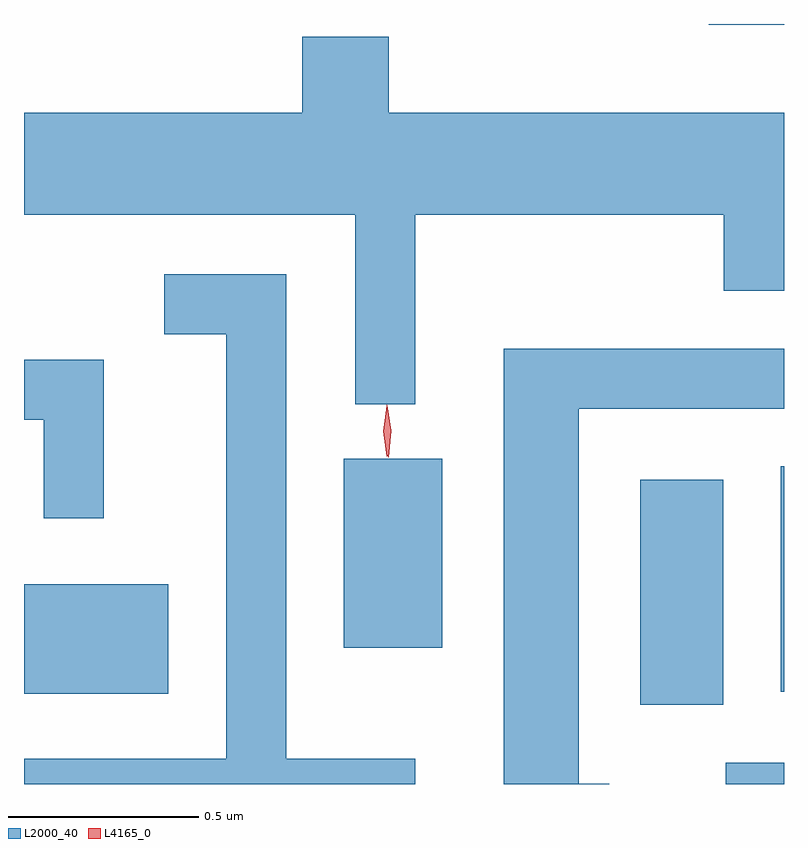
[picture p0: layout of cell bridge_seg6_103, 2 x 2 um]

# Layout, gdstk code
import gdstk
lib = gdstk.Library(unit=1e-6, precision=1e-09)
def R(c, l, rs):  # rectangles x0, y0, x1, y1
    for r in rs: c.add(gdstk.rectangle(r[:2], r[2:], *l))
def P(c, l, *ps):  # polygons
    for p in ps: c.add(gdstk.Polygon(p, *l))
L2000_40 = (2000, 40)
L4165_0 = (4165, 0)

bridge_seg6_103 = lib.new_cell('bridge_seg6_103')
R(bridge_seg6_103, L2000_40, [(1110.171,1637.338,1110.324,1637.394), (1109.946,1637.546,1110.164,1638.139), (1108.324,1637.576,1108.704,1637.864), (1110.316,1637.581,1110.324,1638.174), (1109.166,1637.696,1109.424,1638.194), (1110.126,1639.336,1110.324,1639.338)])
P(bridge_seg6_103, L2000_40, [(1109.354,1638.836),(1110.166,1638.836),(1110.166,1638.636),(1110.324,1638.636),(1110.324,1639.104),(1109.284,1639.104),(1109.284,1639.304),(1109.056,1639.304),(1109.056,1639.104),(1108.324,1639.104),(1108.324,1638.836),(1109.196,1638.836),(1109.196,1638.338),(1109.354,1638.338)],
  [(1109.354,1637.404),(1109.014,1637.404),(1109.014,1638.679),(1108.693,1638.679),(1108.693,1638.521),(1108.856,1638.521),(1108.856,1637.404),(1108.324,1637.404),(1108.324,1637.338),(1109.354,1637.338)],
  [(1109.864,1637.339),(1109.784,1637.339),(1109.784,1638.326),(1110.324,1638.326),(1110.324,1638.484),(1109.586,1638.484),(1109.586,1637.338),(1109.864,1637.338)],
  [(1108.534,1638.454),(1108.324,1638.454),(1108.324,1638.296),(1108.376,1638.296),(1108.376,1638.038),(1108.534,1638.038)])
P(bridge_seg6_103, L4165_0, [(1109.283,1638.198),(1109.283,1638.198),(1109.271,1638.266),(1109.278,1638.335),(1109.279,1638.336),(1109.28,1638.335),(1109.291,1638.267),(1109.284,1638.198)],
  [(1109.279,1638.2),(1109.279,1638.201),(1109.269,1638.266),(1109.279,1638.332),(1109.279,1638.332),(1109.28,1638.332),(1109.289,1638.266),(1109.28,1638.201)])

lib.write_gds('bridge_seg6_103.gds')
